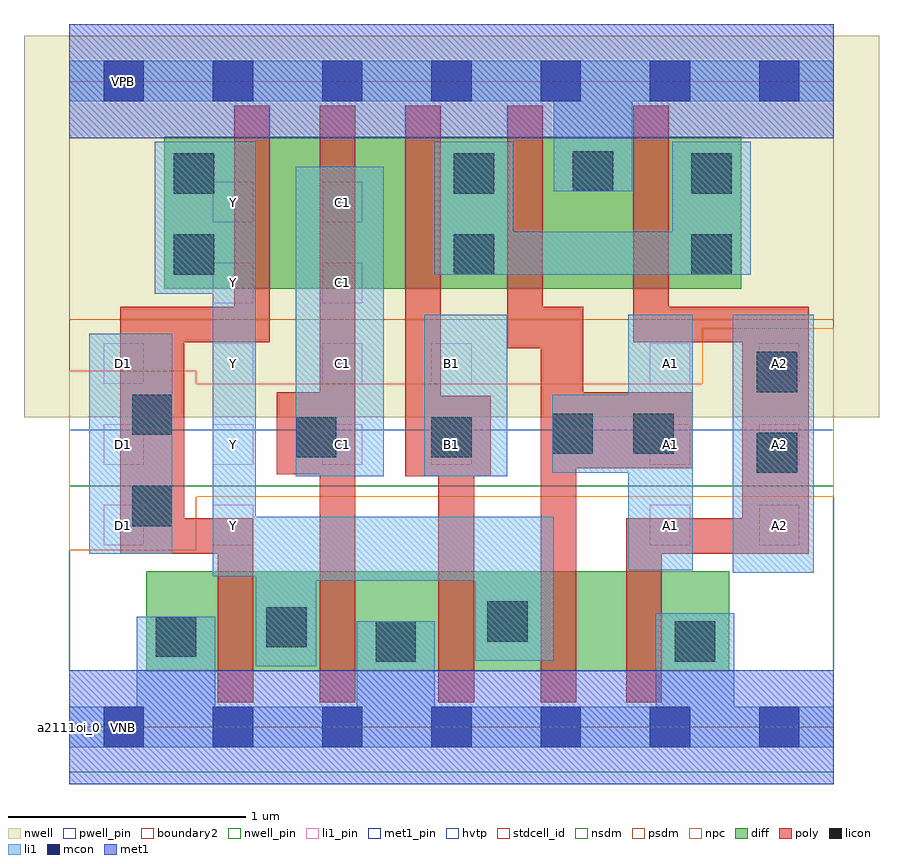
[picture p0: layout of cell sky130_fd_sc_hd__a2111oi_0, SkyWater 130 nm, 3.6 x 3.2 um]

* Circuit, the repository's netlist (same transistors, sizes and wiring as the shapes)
* Copyright 2020 The SkyWater PDK Authors
*
* Licensed under the Apache License, Version 2.0 (the "License");
* you may not use this file except in compliance with the License.
* You may obtain a copy of the License at
*
*     https:  www.apache.org licenses LICENSE-2.0
*
* Unless required by applicable law or agreed to in writing, software
* distributed under the License is distributed on an "AS IS" BASIS,
* WITHOUT WARRANTIES OR CONDITIONS OF ANY KIND, either express or implied.
* See the License for the specific language governing permissions and
* limitations under the License.
*
* SPDX-License-Identifier: Apache-2.0

.SUBCKT sky130_fd_sc_hd__a2111oi_0 A1 A2 B1 C1 D1 VGND VNB VPB VPWR Y
*.PININFO A1:I A2:I B1:I C1:I D1:I VGND:I VNB:I VPB:I VPWR:I Y:O
MMPA0 pndA A1 VPWR VPB sky130_fd_pr__pfet_01v8_hvt m=1 w=0.64u l=0.15u mult=1 sa=0.265
+ sb=0.265 sd=0.28 area=0.063 perim=1.14
MMPA1 pndA A2 VPWR VPB sky130_fd_pr__pfet_01v8_hvt m=1 w=0.64u l=0.15u mult=1 sa=0.265
+ sb=0.265 sd=0.28 area=0.063 perim=1.14
MMPB0 pndB B1 pndA VPB sky130_fd_pr__pfet_01v8_hvt m=1 w=0.64u l=0.15u mult=1 sa=0.265
+ sb=0.265 sd=0.28 area=0.063 perim=1.14
MMPC0 pndC C1 pndB VPB sky130_fd_pr__pfet_01v8_hvt m=1 w=0.64u l=0.15u mult=1 sa=0.265
+ sb=0.265 sd=0.28 area=0.063 perim=1.14
MMPD0 Y D1 pndC VPB sky130_fd_pr__pfet_01v8_hvt m=1 w=0.64u l=0.15u mult=1 sa=0.265
+ sb=0.265 sd=0.28 area=0.063 perim=1.14
MMNA0 Y A1 sndA1 VNB sky130_fd_pr__nfet_01v8 m=1 w=0.42u l=0.15u mult=1 sa=0.265
+ sb=0.265 sd=0.28 area=0.063 perim=1.14
MMNA1 sndA1 A2 VGND VNB sky130_fd_pr__nfet_01v8 m=1 w=0.42u l=0.15u mult=1 sa=0.265
+ sb=0.265 sd=0.28 area=0.063 perim=1.14
MMNB0 Y B1 VGND VNB sky130_fd_pr__nfet_01v8 m=1 w=0.42u l=0.15u mult=1 sa=0.265
+ sb=0.265 sd=0.28 area=0.063 perim=1.14
MMNC0 Y C1 VGND VNB sky130_fd_pr__nfet_01v8 m=1 w=0.42u l=0.15u mult=1 sa=0.265
+ sb=0.265 sd=0.28 area=0.063 perim=1.14
MMND0 Y D1 VGND VNB sky130_fd_pr__nfet_01v8 m=1 w=0.42u l=0.15u mult=1 sa=0.265
+ sb=0.265 sd=0.28 area=0.063 perim=1.14
.ENDS sky130_fd_sc_hd__a2111oi_0

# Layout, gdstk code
import gdstk
lib = gdstk.Library(unit=1e-6, precision=1e-09)
def R(c, l, rs):  # rectangles x0, y0, x1, y1
    for r in rs: c.add(gdstk.rectangle(r[:2], r[2:], *l))
def A(c, l, x, y, w, h, nx, ny, dx, dy):  # array of equal rectangles
    R(c, l, [(x+i*dx, y+j*dy, x+i*dx+w, y+j*dy+h) for i in range(nx) for j in range(ny)])
def P(c, l, *ps):  # polygons
    for p in ps: c.add(gdstk.Polygon(p, *l))
nwell_pin = (64, 16)
nwell = (64, 20)
diff = (65, 20)
poly = (66, 20)
licon = (66, 44)
li1_pin = (67, 16)
li1 = (67, 20)
mcon = (67, 44)
met1_pin = (68, 16)
met1 = (68, 20)
hvtp = (78, 44)
stdcell_id = (81, 4)
nsdm = (93, 44)
psdm = (94, 20)
npc = (95, 20)
pwell_pin = (122, 16)
boundary2 = (236, 0)

sky130_fd_sc_hd__a2111oi = lib.new_cell('sky130_fd_sc_hd__a2111oi_0')
R(sky130_fd_sc_hd__a2111oi, nwell_pin, [(0.145,2.635,0.315,2.805)])
R(sky130_fd_sc_hd__a2111oi, nwell, [(-0.19,1.305,3.41,2.91)])
R(sky130_fd_sc_hd__a2111oi, diff, [(0.325,0.235,2.78,0.655), (0.4,1.845,2.83,2.485)])
P(sky130_fd_sc_hd__a2111oi, poly, [(0.845,2.615),(0.695,2.615),(0.695,1.77),(0.215,1.77),(0.215,0.73),(0.625,0.73),(0.625,0.105),(0.775,0.105),(0.775,0.88),(0.485,0.88),(0.485,1.62),(0.845,1.62)],
  [(1.205,2.615),(1.055,2.615),(1.055,1.41),(0.875,1.41),(0.875,1.065),(1.055,1.065),(1.055,0.105),(1.205,0.105)],
  [(1.775,1.395),(1.565,1.395),(1.565,2.615),(1.415,2.615),(1.415,1.055),(1.555,1.055),(1.555,0.105),(1.705,0.105),(1.705,1.055),(1.775,1.055)],
  [(2.625,1.41),(2.165,1.41),(2.165,1.77),(1.995,1.77),(1.995,2.615),(1.845,2.615),(1.845,1.595),(1.985,1.595),(1.985,0.105),(2.135,0.105),(2.135,1.09),(2.625,1.09)],
  [(3.115,1.77),(2.525,1.77),(2.525,2.615),(2.375,2.615),(2.375,1.62),(2.835,1.62),(2.835,0.88),(2.345,0.88),(2.345,0.105),(2.495,0.105),(2.495,0.73),(3.115,0.73)])
R(sky130_fd_sc_hd__a2111oi, licon, [(1.29,0.275,1.46,0.445), (2.55,0.275,2.72,0.445), (0.365,0.295,0.535,0.465), (0.83,0.335,1,0.505), (1.76,0.36,1.93,0.53), (0.265,0.845,0.435,1.015), (2.895,1.07,3.065,1.24), (0.955,1.135,1.125,1.305), (1.525,1.135,1.695,1.305), (2.035,1.15,2.205,1.32), (2.375,1.15,2.545,1.32), (0.265,1.23,0.435,1.4), (2.895,1.41,3.065,1.58), (0.44,1.905,0.61,2.075), (1.62,1.905,1.79,2.075), (2.62,1.905,2.79,2.075), (0.44,2.245,0.61,2.415), (1.62,2.245,1.79,2.415), (2.62,2.245,2.79,2.415), (2.12,2.255,2.29,2.425)])
A(sky130_fd_sc_hd__a2111oi, li1_pin, 2.445, 0.765, 0.17, 0.17, 1, 3, 0, 0.34)
A(sky130_fd_sc_hd__a2111oi, li1_pin, 2.905, 0.765, 0.17, 0.17, 1, 3, 0, 0.34)
A(sky130_fd_sc_hd__a2111oi, li1_pin, 0.145, 1.105, 0.17, 0.17, 4, 2, 0.46, 0.34)
R(sky130_fd_sc_hd__a2111oi, li1_pin, [(0.145,0.765,0.315,0.935), (0.605,0.765,0.775,0.935), (0.605,1.785,0.775,1.955), (1.065,1.785,1.235,1.955), (0.605,2.125,0.775,2.295), (1.065,2.125,1.235,2.295)])
R(sky130_fd_sc_hd__a2111oi, li1, [(2.795,0.65,3.135,1.735), (0.085,0.73,0.435,1.655), (0.955,1.055,1.325,2.36), (1.495,1.055,1.845,1.735)])
P(sky130_fd_sc_hd__a2111oi, li1, [(3.22,2.805),(0,2.805),(0,2.635),(2.04,2.635),(2.04,2.255),(2.37,2.255),(2.37,2.635),(3.22,2.635)],
  [(3.22,0.085),(2.8,0.085),(2.8,0.48),(2.47,0.48),(2.47,0.085),(1.54,0.085),(1.54,0.445),(1.21,0.445),(1.21,0.085),(0.615,0.085),(0.615,0.465),(0.285,0.465),(0.285,0.085),(0,0.085),(0,-0.085),(3.22,-0.085)],
  [(2.04,0.885),(0.785,0.885),(0.785,2.465),(0.36,2.465),(0.36,1.825),(0.605,1.825),(0.605,0.635),(0.785,0.635),(0.785,0.255),(1.04,0.255),(1.04,0.615),(1.71,0.615),(1.71,0.28),(2.04,0.28)],
  [(2.035,1.07),(2.035,1.4),(2.355,1.4),(2.355,1.735),(2.625,1.735),(2.625,0.66),(2.355,0.66),(2.355,1.07)],
  [(2.87,2.465),(2.54,2.465),(2.54,2.085),(1.87,2.085),(1.87,2.465),(1.54,2.465),(1.54,1.905),(2.87,1.905)])
A(sky130_fd_sc_hd__a2111oi, mcon, 0.145, -0.085, 0.17, 0.17, 7, 2, 0.46, 2.72)
R(sky130_fd_sc_hd__a2111oi, met1_pin, [(0.145,-0.085,0.315,0.085), (0.145,2.635,0.315,2.805)])
R(sky130_fd_sc_hd__a2111oi, hvtp, [(0,1.25,3.22,2.72)])
R(sky130_fd_sc_hd__a2111oi, stdcell_id, [(0,0,3.22,2.72)])
R(sky130_fd_sc_hd__a2111oi, nsdm, [(0,-0.19,3.22,1.015)])
R(sky130_fd_sc_hd__a2111oi, psdm, [(0,1.715,3.22,2.91)])
P(sky130_fd_sc_hd__a2111oi, npc, [(3.22,1.68),(2.665,1.68),(2.665,1.445),(0.535,1.445),(0.535,1.5),(0,1.5),(0,0.745),(0.535,0.745),(0.535,0.97),(3.22,0.97)])
R(sky130_fd_sc_hd__a2111oi, pwell_pin, [(0.145,-0.085,0.315,0.085)])
R(sky130_fd_sc_hd__a2111oi, boundary2, [(0,0,3.22,2.72)])
sky130_fd_sc_hd__a2111oi.add(gdstk.FlexPath([(0,0),(3.22,0)], 0.48, ends="flush", simple_path=True, layer=68, datatype=20))  # met1
sky130_fd_sc_hd__a2111oi.add(gdstk.FlexPath([(0,2.72),(3.22,2.72)], 0.48, ends="flush", simple_path=True, layer=68, datatype=20))  # met1
sky130_fd_sc_hd__a2111oi.add(gdstk.Label('A2', (2.99,0.85), layer=67, texttype=5))
sky130_fd_sc_hd__a2111oi.add(gdstk.Label('A1', (2.53,1.19), layer=67, texttype=5))
sky130_fd_sc_hd__a2111oi.add(gdstk.Label('B1', (1.61,1.53), layer=67, texttype=5))
sky130_fd_sc_hd__a2111oi.add(gdstk.Label('C1', (1.15,1.19), layer=67, texttype=5))
sky130_fd_sc_hd__a2111oi.add(gdstk.Label('Y', (0.69,2.21), layer=67, texttype=5))
sky130_fd_sc_hd__a2111oi.add(gdstk.Label('D1', (0.23,1.53), layer=67, texttype=5))
sky130_fd_sc_hd__a2111oi.add(gdstk.Label('D1', (0.23,1.19), layer=67, texttype=5))
sky130_fd_sc_hd__a2111oi.add(gdstk.Label('D1', (0.23,0.85), layer=67, texttype=5))
sky130_fd_sc_hd__a2111oi.add(gdstk.Label('Y', (0.69,1.87), layer=67, texttype=5))
sky130_fd_sc_hd__a2111oi.add(gdstk.Label('Y', (0.69,1.53), layer=67, texttype=5))
sky130_fd_sc_hd__a2111oi.add(gdstk.Label('Y', (0.69,1.19), layer=67, texttype=5))
sky130_fd_sc_hd__a2111oi.add(gdstk.Label('Y', (0.69,0.85), layer=67, texttype=5))
sky130_fd_sc_hd__a2111oi.add(gdstk.Label('C1', (1.15,1.53), layer=67, texttype=5))
sky130_fd_sc_hd__a2111oi.add(gdstk.Label('C1', (1.15,1.87), layer=67, texttype=5))
sky130_fd_sc_hd__a2111oi.add(gdstk.Label('C1', (1.15,2.21), layer=67, texttype=5))
sky130_fd_sc_hd__a2111oi.add(gdstk.Label('B1', (1.61,1.19), layer=67, texttype=5))
sky130_fd_sc_hd__a2111oi.add(gdstk.Label('A2', (2.99,1.19), layer=67, texttype=5))
sky130_fd_sc_hd__a2111oi.add(gdstk.Label('A2', (2.99,1.53), layer=67, texttype=5))
sky130_fd_sc_hd__a2111oi.add(gdstk.Label('A1', (2.53,0.85), layer=67, texttype=5))
sky130_fd_sc_hd__a2111oi.add(gdstk.Label('A1', (2.53,1.53), layer=67, texttype=5))
sky130_fd_sc_hd__a2111oi.add(gdstk.Label('VNB', (0.23,0), layer=64, texttype=59))
sky130_fd_sc_hd__a2111oi.add(gdstk.Label('VPB', (0.23,2.72), layer=64, texttype=5))
sky130_fd_sc_hd__a2111oi.add(gdstk.Label('VPWR', (0.23,2.72), layer=68, texttype=5))
sky130_fd_sc_hd__a2111oi.add(gdstk.Label('VGND', (0.23,0), layer=68, texttype=5))
sky130_fd_sc_hd__a2111oi.add(gdstk.Label('a2111oi_0', (0,0), layer=83, texttype=44))

lib.write_gds('sky130_fd_sc_hd__a2111oi_0.gds')
